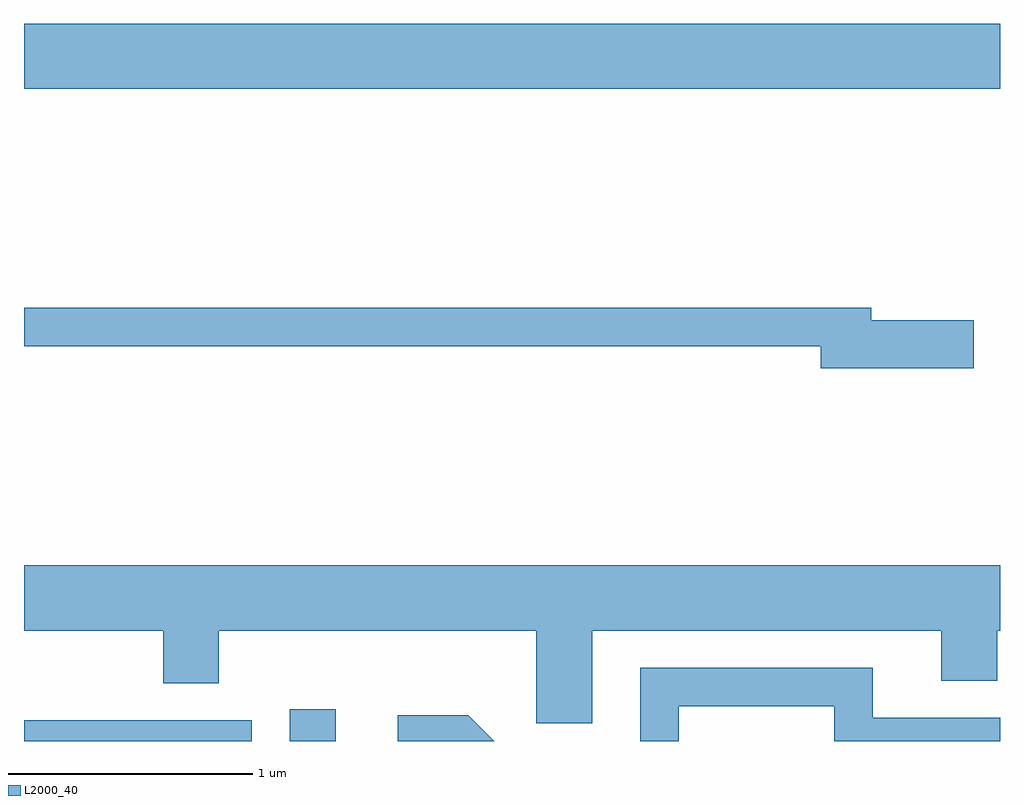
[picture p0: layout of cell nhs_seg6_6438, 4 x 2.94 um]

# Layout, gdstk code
import gdstk
lib = gdstk.Library(unit=1e-6, precision=1e-09)
def R(c, l, rs):  # rectangles x0, y0, x1, y1
    for r in rs: c.add(gdstk.rectangle(r[:2], r[2:], *l))
def P(c, l, *ps):  # polygons
    for p in ps: c.add(gdstk.Polygon(p, *l))
L2000_40 = (2000, 40)

nhs_seg6_6438 = lib.new_cell('nhs_seg6_6438')
R(nhs_seg6_6438, L2000_40, [(379.611,1636.162,380.544,1636.249), (380.701,1636.162,380.889,1636.294), (379.611,1638.836,383.611,1639.104)])
P(nhs_seg6_6438, L2000_40, [(383.504,1637.889),(383.084,1637.889),(383.084,1637.939),(379.611,1637.939),(379.611,1637.781),(382.876,1637.781),(382.876,1637.691),(383.504,1637.691)],
  [(381.939,1636.616),(383.371,1636.616),(383.371,1636.411),(383.599,1636.411),(383.599,1636.616),(383.611,1636.616),(383.611,1636.884),(379.611,1636.884),(379.611,1636.616),(380.181,1636.616),(380.181,1636.401),(380.409,1636.401),(380.409,1636.616),(381.711,1636.616),(381.711,1636.236),(381.939,1636.236)],
  [(382.294,1636.306),(382.931,1636.306),(382.931,1636.162),(383.611,1636.162),(383.611,1636.259),(383.089,1636.259),(383.089,1636.464),(382.136,1636.464),(382.136,1636.162),(382.294,1636.162)],
  [(381.432,1636.269),(381.143,1636.269),(381.143,1636.162),(381.539,1636.162)])

lib.write_gds('nhs_seg6_6438.gds')
